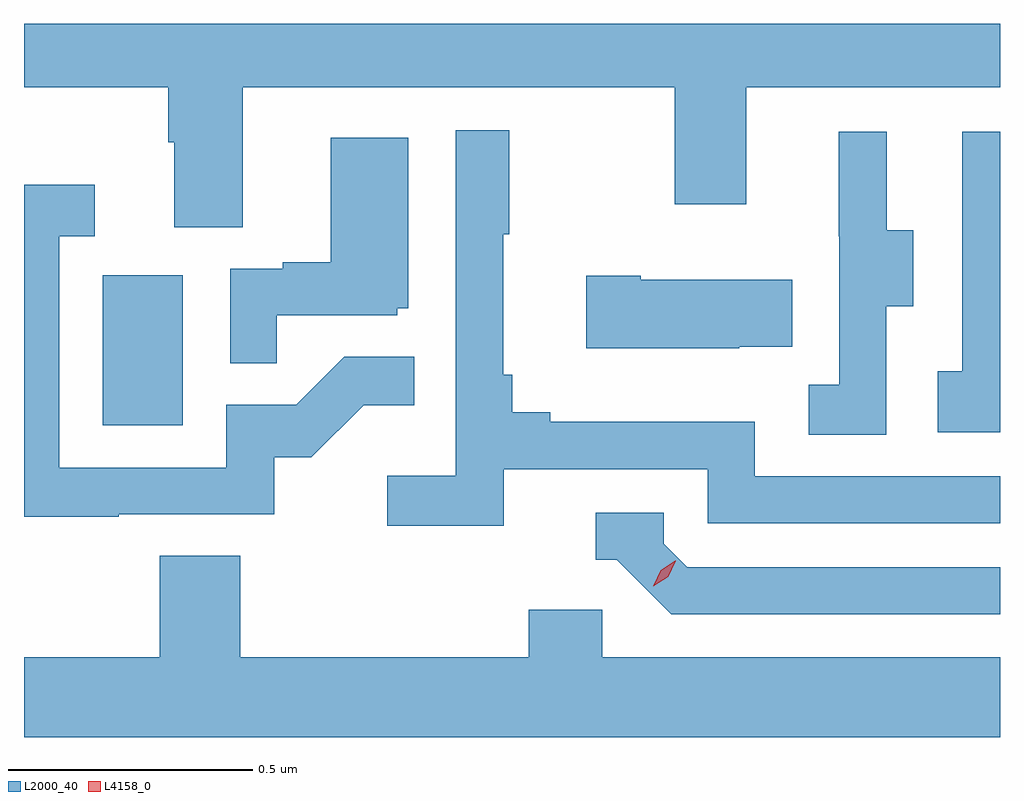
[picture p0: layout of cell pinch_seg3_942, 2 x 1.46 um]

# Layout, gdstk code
import gdstk
lib = gdstk.Library(unit=1e-6, precision=1e-09)
def R(c, l, rs):  # rectangles x0, y0, x1, y1
    for r in rs: c.add(gdstk.rectangle(r[:2], r[2:], *l))
def P(c, l, *ps):  # polygons
    for p in ps: c.add(gdstk.Polygon(p, *l))
L2000_40 = (2000, 40)
L4158_0 = (4158, 0)

pinch_seg3_942 = lib.new_cell('pinch_seg3_942')
R(pinch_seg3_942, L2000_40, [(886.82,669.588,886.984,669.895)])
P(pinch_seg3_942, L2000_40, [(887.107,670.28),(887.992,670.28),(887.992,670.041),(888.139,670.041),(888.139,670.28),(888.659,670.28),(888.659,670.411),(886.659,670.411),(886.659,670.28),(886.955,670.28),(886.955,670.168),(886.967,670.168),(886.967,669.994),(887.107,669.994)],
  [(887.642,669.498),(888.06,669.498),(888.06,669.387),(888.659,669.387),(888.659,669.483),(888.156,669.483),(888.156,669.595),(887.737,669.595),(887.737,669.614),(887.66,669.614),(887.66,669.691),(887.641,669.691),(887.641,669.979),(887.653,669.979),(887.653,670.192),(887.544,670.192),(887.544,669.484),(887.403,669.484),(887.403,669.382),(887.642,669.382)],
  [(888.659,670.189),(888.582,670.189),(888.582,669.698),(888.531,669.698),(888.531,669.573),(888.659,669.573)],
  [(888.426,669.832),(888.481,669.832),(888.481,669.987),(888.427,669.987),(888.427,670.189),(888.329,670.189),(888.329,669.975),(888.33,669.975),(888.33,669.671),(888.267,669.671),(888.267,669.568),(888.426,669.568)],
  [(887.177,669.813),(887.424,669.813),(887.424,669.828),(887.446,669.828),(887.446,670.177),(887.288,670.177),(887.288,669.922),(887.189,669.922),(887.189,669.909),(887.082,669.909),(887.082,669.715),(887.177,669.715)],
  [(886.853,669.405),(887.172,669.405),(887.172,669.522),(887.248,669.522),(887.355,669.629),(887.459,669.629),(887.459,669.728),(887.315,669.728),(887.217,669.63),(887.073,669.63),(887.073,669.501),(886.731,669.501),(886.731,669.975),(886.804,669.975),(886.804,670.081),(886.659,670.081),(886.659,669.4),(886.853,669.4)],
  [(888.125,669.749),(888.233,669.749),(888.233,669.886),(887.923,669.886),(887.923,669.894),(887.811,669.894),(887.811,669.746),(888.125,669.746)],
  [(888.659,669.297),(888.018,669.297),(887.97,669.345),(887.97,669.408),(887.831,669.408),(887.831,669.312),(887.874,669.312),(887.985,669.201),(888.659,669.201)],
  [(888.659,669.112),(887.844,669.112),(887.844,669.21),(887.693,669.21),(887.693,669.112),(887.102,669.112),(887.102,669.32),(886.937,669.32),(886.937,669.112),(886.659,669.112),(886.659,668.948),(888.659,668.948)])
P(pinch_seg3_942, L4158_0, [(887.948,669.258),(887.948,669.258),(887.964,669.291),(887.994,669.31),(887.995,669.31),(887.995,669.31),(887.979,669.277),(887.948,669.258)])

lib.write_gds('pinch_seg3_942.gds')
